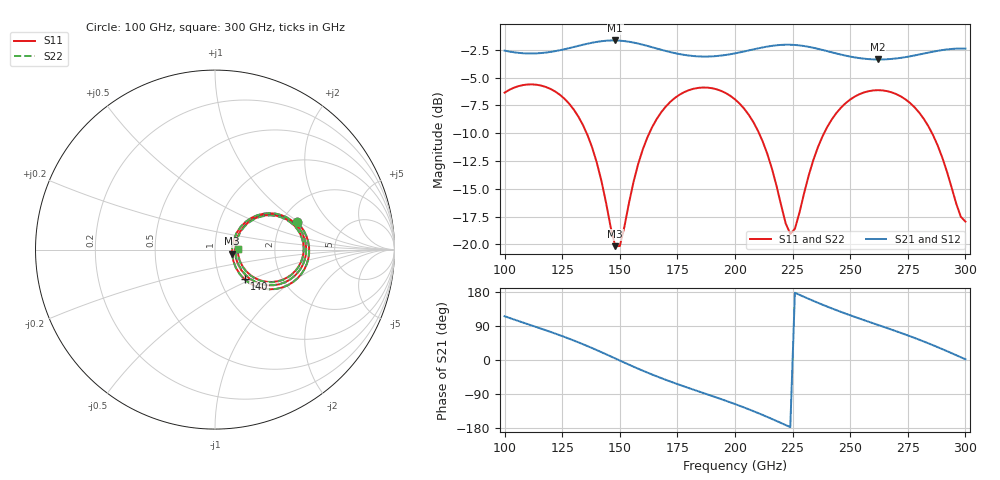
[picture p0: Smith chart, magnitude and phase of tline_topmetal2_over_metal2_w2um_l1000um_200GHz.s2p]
#  GHZ S DB R 50
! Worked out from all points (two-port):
!   101 points, 100 GHz to 300 GHz, reference 50 ohm
!   highest |S21| = -1.64 dB at 148 GHz (marker M1); lowest = -3.4 dB at 262 GHz (marker M2)
!   |S21| within 3 dB of the highest: start of sweep to end of sweep
!   lowest |S11| = -20.2 dB at 148 GHz (marker M3), VSWR 1.22, Z = 60.5 - j2.76 ohm
!   |S11| at or under -10 dB: 135.6 GHz to 162.8 GHz (27.2 GHz wide, 18.2 % of centre); 210.4 GHz to 238.7 GHz (28.22 GHz wide, 12.6 % of centre); 285.5 GHz to end of sweep
!   |S22| runs from -20.2 to -5.6 dB; largest |S21 - S12| = 1.5e-13
!   S11 on the Smith chart (normalised r, x): 100 GHz: 2.41, +0.96; 140 GHz: 1.30, -0.46; 300 GHz: 1.29, +0.01
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100  -6.35 18.5  -2.56 115.5  -2.56 115.5  -6.35 18.5
108  -5.66 4.8  -2.79 98.8  -2.79 98.8  -5.66 4.8
116  -5.71 -8.8  -2.78 82.4  -2.78 82.4  -5.72 -8.8
126  -6.89 -26.0  -2.43 60.8  -2.43 60.8  -6.90 -26.1
134  -9.26 -39.1  -2.03 41.7  -2.03 41.7  -9.26 -39.2
140  -12.63 -45.1  -1.77 26.1  -1.77 26.1  -12.64 -45.3
148  -20.17 -13.3  -1.64 4.2  -1.64 4.2  -20.23 -13.4
150  -20.16 10.7  -1.66 -1.4  -1.66 -1.4  -20.21 10.8
160  -11.44 41.1  -2.03 -28.2  -2.03 -28.2  -11.45 41.2
168  -8.10 30.5  -2.48 -47.8  -2.48 -47.8  -8.10 30.6
184  -5.92 4.3  -3.08 -82.4  -3.08 -82.4  -5.91 4.3
200  -6.95 -21.9  -2.81 -116.3  -2.81 -116.3  -6.94 -21.8
212  -10.73 -38.7  -2.27 -145.1  -2.27 -145.1  -10.71 -38.4
224  -19.06 -4.0  -2.03 -177.1  -2.03 -177.1  -18.87 -4.0
226  -18.61 14.5  -2.05 177.4  -2.05 177.4  -18.44 14.0
234  -12.41 39.2  -2.30 156.1  -2.30 156.1  -12.37 38.6
246  -7.70 26.0  -2.91 126.9  -2.91 126.9  -7.69 25.6
262  -6.12 0.9  -3.36 92.7  -3.36 92.7  -6.12 0.6
268  -6.32 -8.5  -3.31 80.1  -3.31 80.1  -6.31 -8.9
284  -9.39 -31.9  -2.74 43.8  -2.74 43.8  -9.40 -32.3
292  -13.47 -34.8  -2.45 23.4  -2.45 23.4  -13.48 -35.1
300  -17.95 1.4  -2.38 1.9  -2.38 1.9  -17.99 1.2
